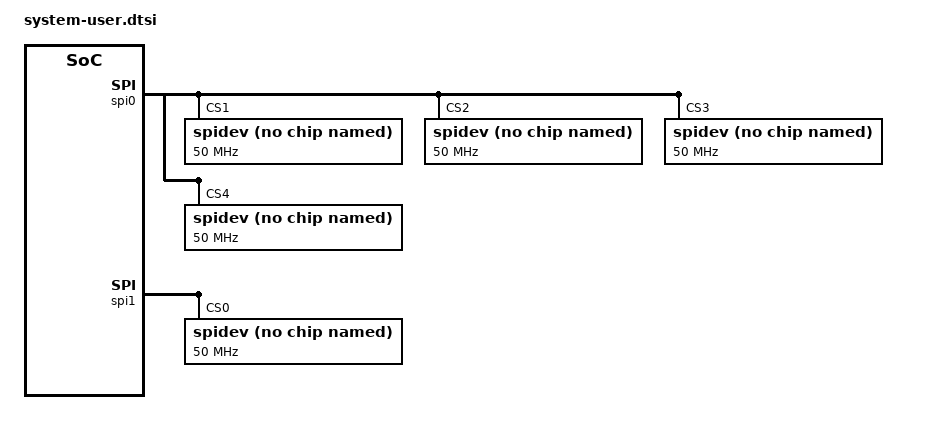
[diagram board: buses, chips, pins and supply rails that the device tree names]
/include/ "system-conf.dtsi"
/ {
};

&spi0 {
    is-decoded-cs = <1>;
    num-cs = <4>;
    // LTC2195 - main ADC
    spidev@0x01 {
        compatible = "spidev";
        spi-max-frequency = <50000000>;
        reg = <1>;
    };
    // AUX ADC channel A
    spidev@0x02 {
        compatible = "spidev";
        spi-max-frequency = <50000000>;
        reg = <2>;
    };
    // AUX ADC channel B
    spidev@0x03 {
        compatible = "spidev";
        spi-max-frequency = <50000000>;
        reg = <3>;
    };
    // AUX DAC
    spidev@0x04 {
        compatible = "spidev";
        spi-max-frequency = <50000000>;
        reg = <4>;
    };
};

&spi1 {
    // AD9117 - main DAC
    spidev@0x00 {
        compatible = "spidev";
        spi-max-frequency = <50000000>;
        reg = <0>;
    };
};
